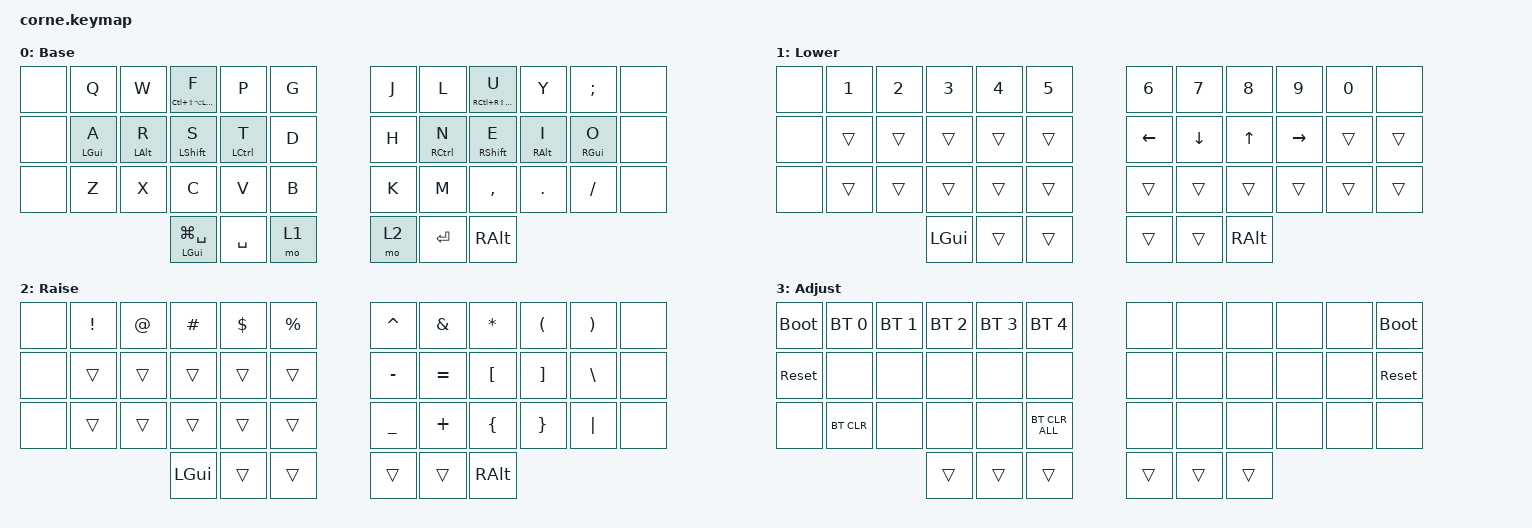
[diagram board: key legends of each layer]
/*
 * Copyright (c) 2020 The ZMK Contributors
 *
 * SPDX-License-Identifier: MIT
 */

#include <behaviors.dtsi>
#include <dt-bindings/zmk/bt.h>
#include <dt-bindings/zmk/keys.h>

/ {
    behaviors {
        tap_hold: tap_hold {
            compatible = "zmk,behavior-hold-tap";
            bindings = <&kp>, <&kp>;

            #binding-cells = <2>;
            tapping-term-ms = <200>;
        };

        hml: home_row_mod_left {
            compatible = "zmk,behavior-hold-tap";
            #binding-cells = <2>;
            flavor = "balanced";
            require-prior-idle-ms = <150>;
            tapping-term-ms = <280>;
            quick-tap-ms = <175>;
            bindings = <&kp>, <&kp>;

            hold-trigger-key-positions = <6 7 8 9 10 18 19 20 21 22 30 31 32 33 34 39 40 41>; // Right side keys
            hold-trigger-on-release;
        };

        hmr: home_row_mod_right {
            compatible = "zmk,behavior-hold-tap";
            #binding-cells = <2>;
            flavor = "balanced";
            require-prior-idle-ms = <150>;
            tapping-term-ms = <280>;
            quick-tap-ms = <175>;
            bindings = <&kp>, <&kp>;

            hold-trigger-key-positions = <1 2 3 4 5 13 14 15 16 17 25 26 27 28 29 36 37 38>; // Left side keys
            hold-trigger-on-release;
        };
    };

    // Hold Lower + Raise together -> Adjust (Bluetooth, bootloader, reset).
    conditional_layers {
        compatible = "zmk,conditional-layers";

        adjust {
            if-layers = <1 2>;
            then-layer = <3>;
        };
    };

    combos {
        compatible = "zmk,combos";

        w_f_esc {
            bindings = <&kp ESCAPE>;
            key-positions = <2 3>;
            require-prior-idle-ms = <100>;
        };

        w_r_at {
            bindings = <&kp AT>;
            key-positions = <2 14>;
            require-prior-idle-ms = <100>;
        };

        r_s_tab {
            bindings = <&kp TAB>;
            key-positions = <14 15>;
            require-prior-idle-ms = <100>;
        };

        r_x_backtick {
            bindings = <&kp GRAVE>;
            key-positions = <14 26>;
            require-prior-idle-ms = <100>;
        };

        x_c_copy {
            bindings = <&kp LG(C)>;
            key-positions = <26 27>;
            require-prior-idle-ms = <100>;
        };

        c_v_paste {
            bindings = <&kp LG(V)>;
            key-positions = <27 28>;
            require-prior-idle-ms = <100>;
        };

        v_t_equal {
            bindings = <&kp EQUAL>;
            key-positions = <28 16>;
            require-prior-idle-ms = <100>;
        };

        p_t_dollar {
            bindings = <&kp DOLLAR>;
            key-positions = <16 4>;
            require-prior-idle-ms = <100>;
        };

        z_v_cut {
            bindings = <&kp LG(X)>;
            key-positions = <27 25>;
            require-prior-idle-ms = <100>;
        };

        g_d_percent {
            bindings = <&kp PERCENT>;
            key-positions = <17 5>;
            require-prior-idle-ms = <100>;
        };

        d_b_tile {
            bindings = <&kp TILDE>;
            key-positions = <17 29>;
            require-prior-idle-ms = <100>;
        };

        j_h_caret {
            bindings = <&kp CARET>;
            key-positions = <6 18>;
            require-prior-idle-ms = <100>;
        };

        h_k_underscore {
            bindings = <&kp UNDERSCORE>;
            key-positions = <18 30>;
            require-prior-idle-ms = <100>;
        };

        l_n_plus {
            bindings = <&kp PLUS>;
            key-positions = <7 19>;
            require-prior-idle-ms = <100>;
        };

        n_m_minus {
            bindings = <&kp MINUS>;
            key-positions = <19 31>;
            require-prior-idle-ms = <100>;
        };

        l_u_bkspc {
            bindings = <&kp BACKSPACE>;
            key-positions = <7 8>;
            require-prior-idle-ms = <100>;
        };

        u_y_del {
            bindings = <&kp DEL>;
            key-positions = <8 9>;
            require-prior-idle-ms = <100>;
        };

        y_i_ampersand {
            bindings = <&kp AMPERSAND>;
            key-positions = <9 21>;
            require-prior-idle-ms = <100>;
        };

        i_period_pipe {
            bindings = <&kp PIPE>;
            key-positions = <21 33>;
            require-prior-idle-ms = <100>;
        };

        n_e_openparen_lt {
            bindings = <&tap_hold LESS_THAN LEFT_PARENTHESIS>;
            key-positions = <19 20>;
            require-prior-idle-ms = <100>;
        };

        e_i_closeparen_gt {
            bindings = <&tap_hold GREATER_THAN RIGHT_PARENTHESIS>;
            key-positions = <20 21>;
            require-prior-idle-ms = <100>;
        };

        m_comma_curlyparen_squareparen_open {
            bindings = <&tap_hold LEFT_BRACKET LEFT_BRACE>;
            key-positions = <31 32>;
            require-prior-idle-ms = <100>;
        };

        comma_period_curlyparen_squareparen_close {
            bindings = <&tap_hold RIGHT_BRACKET RIGHT_BRACE>;
            key-positions = <32 33>;
            require-prior-idle-ms = <100>;
        };

        u_e_star {
            bindings = <&kp STAR>;
            key-positions = <8 20>;
            require-prior-idle-ms = <100>;
        };

        e_comma_slash {
            bindings = <&kp SLASH>;
            key-positions = <20 32>;
            require-prior-idle-ms = <100>;
        };

        s_c_quote {
            bindings = <&tap_hold DOUBLE_QUOTES SINGLE_QUOTE>;
            key-positions = <15 27>;
            require-prior-idle-ms = <100>;
        };

        z_x_caps_word {
            bindings = <&caps_word>;
            key-positions = <25 26>;
            require-prior-idle-ms = <100>;
        };

        // herdr prefix (Ctrl+B). Idle guard + short window so rolling "bv" mid-word doesn't fire it.
        v_b_herdr_prefix {
            bindings = <&kp LC(B)>;
            key-positions = <28 29>;
            timeout-ms = <40>;
            require-prior-idle-ms = <150>;
        };
    };

    keymap {
        compatible = "zmk,keymap";

        default_layer {
            // -----------------------------------------------------------------------------------------
            // |  TAB |  Q  |  W  |  E  |  R  |  T  |   |  Y  |  U   |  I  |  O  |  P  | BKSP |
            // | CTRL |  A  |  S  |  D  |  F  |  G  |   |  H  |  J   |  K  |  L  |  ;  |  '   |
            // | SHFT |  Z  |  X  |  C  |  V  |  B  |   |  N  |  M   |  ,  |  .  |  /  | ESC  |
            //                    | GUI | LWR | SPC |   | ENT | RSE  | ALT |

            display-name = "Base";
            bindings = <
&none  &kp Q            &kp W            &hml LC(LS(LA(LEFT_GUI))) F   &kp P         &kp G    &kp J  &kp L         &hmr RC(RS(RA(RIGHT_GUI))) U  &kp Y             &kp SEMICOLON  &none
&none  &hml LEFT_GUI A  &hml LEFT_ALT R  &hml LEFT_SHIFT S             &hml LCTRL T  &kp D    &kp H  &hmr RCTRL N  &hmr RIGHT_SHIFT E            &hmr RIGHT_ALT I  &hmr RGUI O    &none
&none  &kp Z            &kp X            &kp C                         &kp V         &kp B    &kp K  &kp M         &kp COMMA                     &kp DOT           &kp FSLH       &none
                                         &tap_hold LEFT_GUI LG(SPACE)  &kp SPACE     &mo 1    &mo 2  &kp ENTER     &kp RALT
            >;
        };

        lower_layer {
            // -----------------------------------------------------------------------------------------
            // |  TAB |  1  |  2  |  3  |  4  |  5  |   |  6  |  7  |  8  |  9  |  0  | BKSP |
            // |      |     |     |     |     |     |   | LFT | DWN |  UP | RGT |     |      |
            // |      |     |     |     |     |     |   |     |     |     |     |     |      |
            //                    | GUI |     | SPC |   | ENT |     | ALT |

            display-name = "Lower";
            bindings = <
&none  &kp N1        &kp N2        &kp N3        &kp N4        &kp N5          &kp N6    &kp N7    &kp N8    &kp N9     &kp N0  &none
&none  &trans        &trans        &trans        &trans        &trans          &kp LEFT  &kp DOWN  &kp UP    &kp RIGHT  &trans  &trans
&none  &trans        &trans        &trans        &trans        &trans          &trans    &trans    &trans    &trans     &trans  &trans
                                   &kp LGUI      &trans        &trans          &trans    &trans    &kp RALT
            >;
        };

        raise_layer {
            // -----------------------------------------------------------------------------------------
            // |  TAB |  !  |  @  |  #  |  $  |  %  |   |  ^  |  &  |  *  |  (  |  )  | BKSP |
            // | CTRL |     |     |     |     |     |   |  -  |  =  |  [  |  ]  |  \  |  `   |
            // | SHFT |     |     |     |     |     |   |  _  |  +  |  {  |  }  | "|" |  ~   |
            //                    | GUI |     | SPC |   | ENT |     | ALT |

            display-name = "Raise";
            bindings = <
&none  &kp EXCL  &kp AT  &kp HASH  &kp DLLR  &kp PRCNT    &kp CARET  &kp AMPS   &kp STAR         &kp LPAR  &kp RPAR  &none
&none  &trans    &trans  &trans    &trans    &trans       &kp MINUS  &kp EQUAL  &kp LBKT         &kp RBKT  &kp BSLH  &none
&none  &trans    &trans  &trans    &trans    &trans       &kp UNDER  &kp PLUS   &kp LBRC         &kp RBRC  &kp PIPE  &none
                         &kp LGUI  &trans    &trans       &trans     &trans     &kp RALT
            >;
        };

        adjust_layer {
            // Reached by holding Lower + Raise.
            // | BOOT | BT0 | BT1 | BT2 | BT3 | BT4 |   |     |     |     |     |     | BOOT |
            // | RST  |     |     |     |     |     |   |     |     |     |     |     | RST  |
            // |      | CLR |     |     |     |CLRAL|   |     |     |     |     |     |      |
            // bootloader/reset act on the half they're pressed on.

            display-name = "Adjust";
            bindings = <
&bootloader  &bt BT_SEL 0  &bt BT_SEL 1  &bt BT_SEL 2  &bt BT_SEL 3  &bt BT_SEL 4      &none   &none   &none   &none   &none   &bootloader
&sys_reset   &none         &none         &none         &none         &none             &none   &none   &none   &none   &none   &sys_reset
&none        &bt BT_CLR    &none         &none         &none         &bt BT_CLR_ALL    &none   &none   &none   &none   &none   &none
                                         &trans        &trans        &trans            &trans  &trans  &trans
            >;
        };

        extra_2 { status = "reserved"; };

        extra_3 { status = "reserved"; };
    };
};
